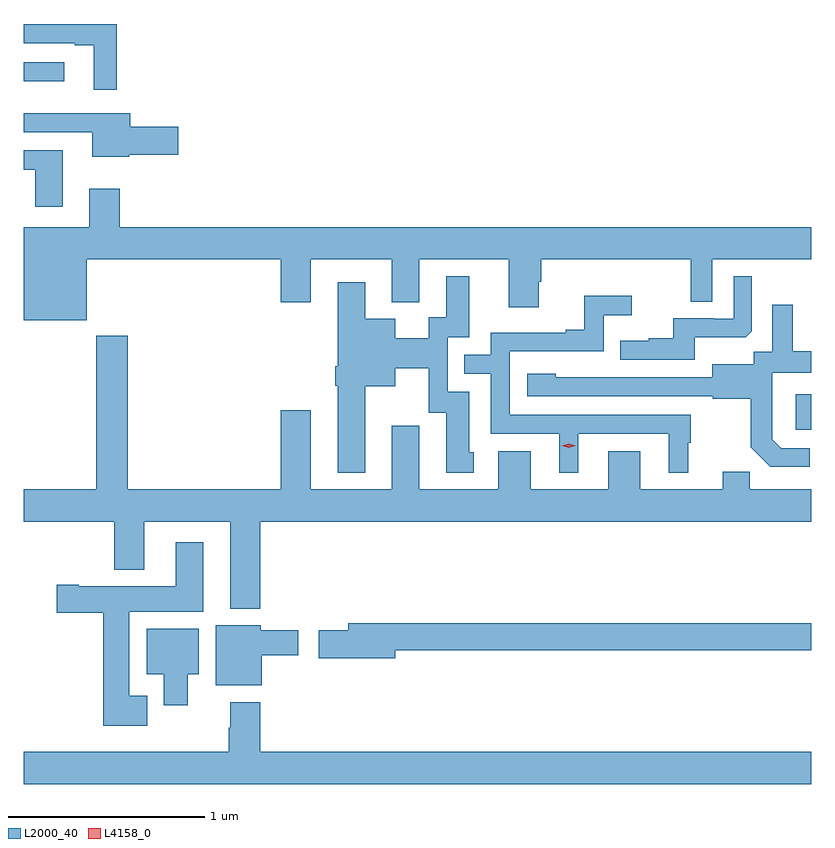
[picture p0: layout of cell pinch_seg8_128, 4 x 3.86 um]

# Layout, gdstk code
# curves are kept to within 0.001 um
import gdstk
lib = gdstk.Library(unit=1e-6, precision=1e-09)
def R(c, l, rs):  # rectangles x0, y0, x1, y1
    for r in rs: c.add(gdstk.rectangle(r[:2], r[2:], *l))
def P(c, l, *ps):  # polygons
    for p in ps: c.add(gdstk.Polygon(p, *l))
L2000_40 = (2000, 40)
L4158_0 = (4158, 0)

pinch_seg8_128 = lib.new_cell('pinch_seg8_128')
R(pinch_seg8_128, L2000_40, [(799.793,1124.958,799.871,1125.139), (795.871,1126.73,796.078,1126.827)])
P(pinch_seg8_128, L2000_40, [(796.343,1127.02),(795.871,1127.02),(795.871,1126.923),(796.13,1126.923),(796.13,1126.911),(796.226,1126.911),(796.226,1126.686),(796.343,1126.686)],
  [(796.407,1126.357),(796.657,1126.357),(796.657,1126.499),(796.411,1126.499),(796.411,1126.567),(795.871,1126.567),(795.871,1126.47),(796.22,1126.47),(796.22,1126.346),(796.407,1126.346)],
  [(796.069,1126.38),(795.871,1126.38),(795.871,1126.279),(795.929,1126.279),(795.929,1126.092),(796.069,1126.092)],
  [(796.192,1125.824),(797.177,1125.824),(797.177,1125.606),(797.329,1125.606),(797.329,1125.824),(797.741,1125.824),(797.741,1125.608),(797.881,1125.608),(797.881,1125.824),(798.335,1125.824),(798.335,1125.582),(798.487,1125.582),(798.487,1125.711),(798.5,1125.711),(798.5,1125.824),(799.26,1125.824),(799.26,1125.61),(799.368,1125.61),(799.368,1125.824),(799.871,1125.824),(799.871,1125.988),(796.358,1125.988),(796.358,1126.183),(796.205,1126.183),(796.205,1125.988),(795.871,1125.988),(795.871,1125.515),(796.192,1125.515)],
  [(797.605,1125.179),(797.758,1125.179),(797.758,1125.272),(797.928,1125.272),(797.928,1125.045),(798.017,1125.045),(798.017,1124.742),(798.157,1124.742),(798.157,1124.844),(798.133,1124.844),(798.133,1125.153),(798.024,1125.153),(798.024,1125.429),(798.133,1125.429),(798.133,1125.739),(798.017,1125.739),(798.017,1125.53),(797.927,1125.53),(797.927,1125.424),(797.758,1125.424),(797.758,1125.523),(797.605,1125.523),(797.605,1125.709),(797.465,1125.709),(797.465,1125.283),(797.453,1125.283),(797.453,1125.183),(797.465,1125.183),(797.465,1124.741),(797.605,1124.741)],
  [(799.279,1125.428),(799.537,1125.428),(799.569,1125.459),(799.569,1125.739),(799.476,1125.739),(799.476,1125.522),(799.376,1125.522),(799.376,1125.525),(799.169,1125.525),(799.169,1125.424),(799.045,1125.424),(799.045,1125.412),(798.901,1125.412),(798.901,1125.315),(799.279,1125.315)],
  [(798.688,1124.94),(799.148,1124.94),(799.148,1124.741),(799.246,1124.741),(799.246,1124.892),(799.258,1124.892),(799.258,1125.036),(798.339,1125.036),(798.339,1125.357),(798.816,1125.357),(798.816,1125.542),(798.958,1125.542),(798.958,1125.641),(798.718,1125.641),(798.718,1125.466),(798.623,1125.466),(798.623,1125.453),(798.243,1125.453),(798.243,1125.339),(798.109,1125.339),(798.109,1125.243),(798.243,1125.243),(798.243,1124.94),(798.59,1124.94),(798.59,1124.741),(798.688,1124.741)],
  [(799.864,1124.865),(799.719,1124.865),(799.672,1124.912),(799.672,1125.007),(799.674,1125.007),(799.674,1125.248),(799.871,1125.248),(799.871,1125.358),(799.777,1125.358),(799.777,1125.595),(799.673,1125.595),(799.673,1125.356),(799.578,1125.356),(799.578,1125.292),(799.367,1125.292),(799.367,1125.225),(798.573,1125.226),(798.573,1125.244),(798.429,1125.244),(798.429,1125.129),(799.371,1125.129),(799.371,1125.117),(799.563,1125.117),(799.563,1124.871),(799.663,1124.771),(799.864,1124.771)],
  [(797.072,1124.492),(799.871,1124.492),(799.871,1124.656),(799.559,1124.656),(799.559,1124.747),(799.421,1124.747),(799.421,1124.656),(799.003,1124.656),(799.003,1124.851),(798.839,1124.851),(798.839,1124.656),(798.445,1124.656),(798.445,1124.851),(798.281,1124.851),(798.281,1124.656),(797.881,1124.656),(797.881,1124.98),(797.741,1124.98),(797.741,1124.656),(797.329,1124.656),(797.329,1125.058),(797.177,1125.058),(797.177,1124.656),(796.4,1124.656),(796.4,1125.436),(796.24,1125.436),(796.24,1124.656),(795.871,1124.656),(795.871,1124.492),(796.331,1124.492),(796.331,1124.249),(796.483,1124.249),(796.483,1124.492),(796.919,1124.492),(796.919,1124.051),(797.072,1124.051)],
  [(796.498,1123.609),(796.408,1123.609),(796.408,1124.036),(796.783,1124.036),(796.783,1124.389),(796.643,1124.389),(796.643,1124.164),(796.15,1124.164),(796.15,1124.172),(796.038,1124.172),(796.038,1124.03),(796.274,1124.03),(796.274,1123.457),(796.498,1123.457)],
  [(797.758,1123.84),(799.871,1123.84),(799.871,1123.976),(797.519,1123.976),(797.519,1123.94),(797.37,1123.94),(797.37,1123.798),(797.758,1123.798)],
  [(797.08,1123.813),(797.266,1123.813),(797.266,1123.942),(797.076,1123.942),(797.076,1123.966),(796.847,1123.966),(796.847,1123.661),(797.08,1123.661)],
  [(796.705,1123.718),(796.759,1123.718),(796.759,1123.948),(796.496,1123.948),(796.496,1123.718),(796.583,1123.718),(796.583,1123.56),(796.705,1123.56)],
  [(799.871,1123.324),(797.072,1123.324),(797.072,1123.576),(796.919,1123.576),(796.919,1123.445),(796.912,1123.445),(796.912,1123.324),(795.871,1123.324),(795.871,1123.16),(799.871,1123.16)])
P(pinch_seg8_128, L4158_0, [(798.639,1124.867),(798.604,1124.877),(798.603,1124.877),(798.604,1124.877),(798.639,1124.887),(798.674,1124.877),(798.675,1124.877),(798.674,1124.877)])

lib.write_gds('pinch_seg8_128.gds')
